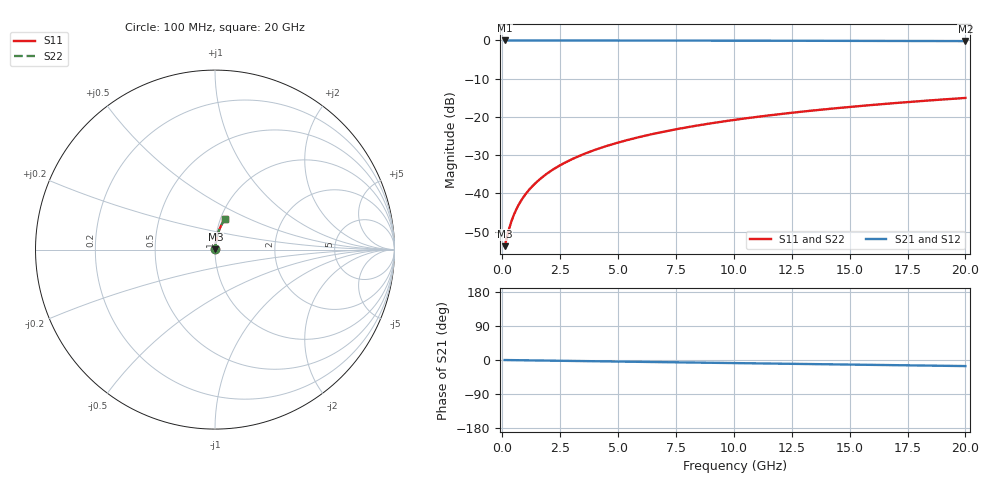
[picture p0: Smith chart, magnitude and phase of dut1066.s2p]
! Touchstone file exported from HFSS 2026.1.0
!  File:  C:/ffzhzh/LocalFiles/Ansys_Project_Files/temp_train_BSMRDL_1066_1783174191_43440.aedt
!  Generated:  10:11:03 PM Jul  4, 2026
!  Design:  BSMRDL
!  Project:  temp_train_BSMRDL_1066_1783174191_43440
! Variables:
!  h_bsmrdl = 2.44um
!  h_ox = 20um
!  h_rdl = 5um
!  h_sub = 80um
!  h_tmrdl = 5um
!  h_tsv = 80um
!  h_via = 3um
!  l_bsmrdl = 185.69um
!  l_sub = 585.69um
!  l_tmrdl = 200um
!  m_sub = 200um
!  pitch = 43.53um
!  r_tsv = 6um
!  s_tmrdl = 10um
!  w_bsmrdl = 18.37um
!  w_sub = 500um
!  w_tmrdl = 12um
!  x_tsv_center1 = 206um
!  x_tsv_center2 = 410.06um
!  x_tsv_center3 = 622.06um
!  x_tsv_center4 = 826.12um
!  x_tsv_center5 = 1038.12um
!  x_tsv_center6 = 1242.18um
# GHz S MA R 50.000000
! Terminal data exported
! Port[1] = BSM_RDL1_1_T1
! Port[2] = BSM_RDL1_1_T2
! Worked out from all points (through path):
!   200 points, 100 MHz to 20 GHz, reference 50 ohm
!   highest |S21| = -0.02 dB at 100 MHz (marker M1); lowest = -0.2 dB at 20 GHz (marker M2)
!   group delay of S21, straight-line fit = 2.23 ps
!   lowest |S11| = -53.8 dB at 100 MHz (marker M3), VSWR 1.00, Z = 50.2 + j0.0998 ohm
!   |S11| at or under -10 dB: start of sweep to end of sweep
!   |S22| runs from -53.8 to -15.0 dB; largest |S21 - S12| = 3.1e-15
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0.1  0.002038 29.2  0.9982 -0.1  0.9982 -0.1  0.002038 29.2
! Gamma 0 0 0 0
! Port Impedance 50 0 50 0
0.3  0.003491 57.7  0.9981 -0.3  0.9981 -0.3  0.003491 57.7
0.4  0.004354 63.8  0.9981 -0.3  0.9981 -0.3  0.004354 63.8
0.5  0.005237 67.7  0.998 -0.4  0.998 -0.4  0.005237 67.7
0.6  0.006127 70.5  0.998 -0.5  0.998 -0.5  0.006127 70.5
0.8  0.007913 74.1  0.9979 -0.7  0.9979 -0.7  0.007913 74.1
1  0.009704 76.5  0.9978 -0.8  0.9978 -0.8  0.009704 76.5
1.2  0.0115 78.1  0.9978 -1.0  0.9978 -1.0  0.0115 78.1
1.4  0.0133 79.3  0.9977 -1.2  0.9977 -1.2  0.0133 79.3
1.7  0.01602 80.5  0.9976 -1.4  0.9976 -1.4  0.01602 80.5
2.2  0.02057 81.8  0.9975 -1.8  0.9975 -1.8  0.02057 81.8
2.8  0.02604 82.5  0.9973 -2.3  0.9973 -2.3  0.02604 82.5
3.5  0.03243 82.8  0.997 -2.9  0.997 -2.9  0.03243 82.8
4.2  0.03883 82.9  0.9967 -3.4  0.9967 -3.4  0.03883 82.8
5  0.04612 82.7  0.9963 -4.1  0.9963 -4.1  0.04612 82.7
5.9  0.0543 82.3  0.9958 -4.8  0.9958 -4.8  0.0543 82.3
6.8  0.06245 81.8  0.9952 -5.6  0.9952 -5.6  0.06245 81.8
8.3  0.07595 80.9  0.994 -6.8  0.994 -6.8  0.07595 80.9
10.1  0.09201 79.6  0.9923 -8.2  0.9923 -8.2  0.09201 79.6
13.4  0.121 77.2  0.9886 -10.9  0.9886 -10.9  0.121 77.2
16.7  0.1493 74.8  0.9842 -13.5  0.9842 -13.5  0.1493 74.8
20  0.1769 72.3  0.9791 -16.0  0.9791 -16.0  0.1769 72.3
